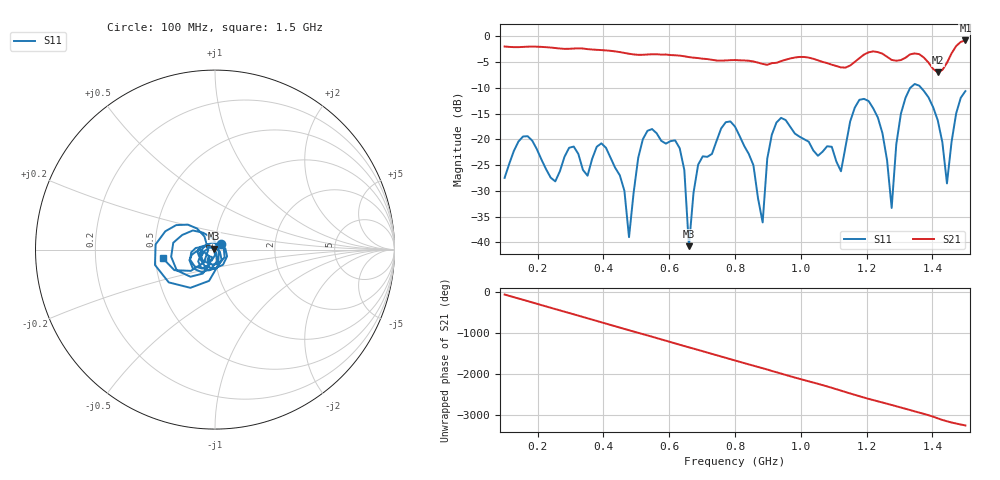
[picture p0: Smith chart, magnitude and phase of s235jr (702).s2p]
! NanoVNA-App
! Date: 2025-09-25 15:09:38
! Start: 100MHz Stop: 1,5GHz Points: 101
! S-Parameter data: F S11 S21 S12 S22
# Hz S RI R 50
!  Frequency  S11_Real  S11_Imag  S21_Real  S21_Imag  S12_Real  S12_Imag  S22_Real  S22_Imag
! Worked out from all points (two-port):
!   101 points, 100 MHz to 1.5 GHz, reference 50 ohm
!   highest |S21| = -0.79 dB at 1.5 GHz (marker M1); lowest = -7.0 dB at 1.416 GHz (marker M2)
!   |S21| within 3 dB of the highest: start of sweep to 638.1 MHz; 1.187 GHz to 1.258 GHz (71.29 MHz wide, 5.83 % of centre) (the widest 2 of 4)
!   lowest |S11| = -40.7 dB at 660 MHz (marker M3), VSWR 1.02, Z = 49.3 + j0.564 ohm
!   |S11| at or under -10 dB: start of sweep to 1.332 GHz; 1.366 GHz to end of sweep
!   S12 and S22 are empty: the file has one direction only
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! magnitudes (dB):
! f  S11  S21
! 100 MHz  -27.5  -2.0
! 156 MHz  -19.4  -2.0
! 338 MHz  -25.9  -2.4
! 408 MHz  -21.6  -2.7
! 478 MHz  -39.0  -3.4
! 520 MHz  -20.0  -3.6
! 576 MHz  -20.3  -3.5
! 632 MHz  -21.7  -3.7
! 660 MHz  -40.7  -4.0
! 688 MHz  -24.9  -4.2
! 800 MHz  -17.5  -4.6
! 884 MHz  -36.1  -5.3
! 926 MHz  -16.7  -5.1
! 1.038 GHz  -22.2  -4.3
! 1.122 GHz  -26.2  -6.0
! 1.206 GHz  -12.6  -3.1
! 1.276 GHz  -33.3  -4.6
! 1.304 GHz  -15.0  -4.6
! 1.332 GHz  -10.0  -3.5
! 1.416 GHz  -16.3  -7.0
! 1.444 GHz  -28.5  -5.1
! 1.5 GHz  -10.6  -0.8
